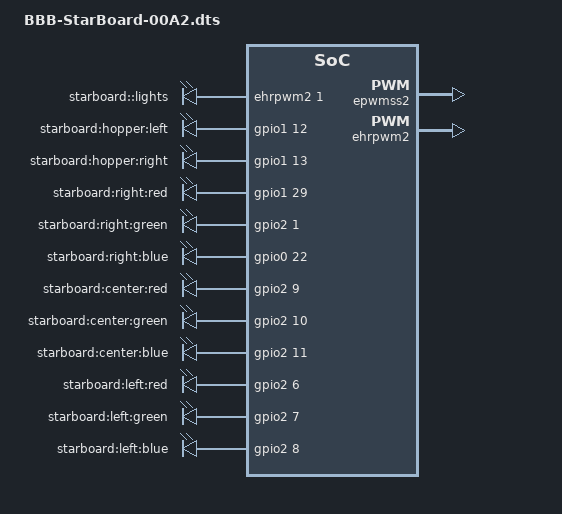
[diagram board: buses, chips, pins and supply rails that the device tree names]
/dts-v1/;
/plugin/;

#include <dt-bindings/gpio/gpio.h>
#include <dt-bindings/pinctrl/am33xx.h>

/ {
        compatible = "ti,beaglebone-black";

        /* identification */
        part-number = "BBB-StarBoard";
        version = "00A2";

        exclusive-use =
                "P8.11", /* pru0: pr1_pru0_pru_r30_15 */
                "P8.12", /* pru0: pr1_pru0_pru_r30_14 */
                "pru0",
                "P8.13", "ehrpwm2B", /* "gpio0_23", */
                "P8.14", "gpio0_26",
                "P8.15", "gpio1_15",
                "P8.16", "gpio1_14",
                "P8.17", "gpio0_27",
                "P8.18", "gpio2_1",
                "P8.19", "gpio0_22",
                "P8.26", "gpio1_29",
                "P8.41", "gpio2_10",
                "P8.42", "gpio2_11",
                "P8.43", "gpio2_8",
                "P8.44", "gpio2_9",
                "P8.45", "gpio2_6",
                "P8.46", "gpio2_7",
                "P9.25", "P9.28", "P9.29", "P9.31", "mcasp0", "ssm2518",
                "P9.27", "gpio3_19", "gpio1_27";


        fragment@0 {
                target = <&ocp>;
                __overlay__ {
                        P8_11_pinmux { status = "disabled"; }; /* pru0: pr1_pru0_pru_r30_15 */
                        P8_12_pinmux { status = "disabled"; }; /* pru0: pr1_pru0_pru_r30_14 */
                        P8_13_pinmux { status = "disabled"; }; /* ehrpwm2b */
                        P8_14_pinmux { status = "disabled"; }; /* gpio0_26 */
                        P8_15_pinmux { status = "disabled"; }; /* gpio1_15 */
                        P8_16_pinmux { status = "disabled"; }; /* gpio1_14 */
                        P8_17_pinmux { status = "disabled"; }; /* gpio0_27 */
                        P8_18_pinmux { status = "disabled"; }; /* gpio2_1 */
                        P8_19_pinmux { status = "disabled"; }; /* gpio0_22 */
                        P8_26_pinmux { status = "disabled"; }; /* gpio1_29 */
                        P8_41_pinmux { status = "disabled"; }; /* gpio2_10 */
                        P8_42_pinmux { status = "disabled"; }; /* gpio2_8 */
                        P8_43_pinmux { status = "disabled"; }; /* gpio2_9 */
                        P8_44_pinmux { status = "disabled"; }; /* gpio2_6 */
                        P8_45_pinmux { status = "disabled"; }; /* gpio2_7 */
                        P8_46_pinmux { status = "disabled"; }; /* gpio3_19, gpio1_27*/
                        P9_27_pinmux { status = "disabled"; };
                };
        };

        /* sets pin mux */
        fragment@1 {
                target = <&am33xx_pinmux>;
                __overlay__ {
                lights_pwm: pinmux_lights_pwm_pins {
                                pinctrl-single,pins = <
                                        0x024 0x4 /* P8.13 - house lights output pulldown */
                                        >;
                        };
                hopper_gpio: pinmux_hopper_gpio_pins {
                                pinctrl-single,pins = <
                                        0x34 0x27
                                        0x30 0x27
                                        >;
                        };
                led_gpio: pinmux_led_gpio_pins {
                                pinctrl-single,pins = <
                                        0x08c 0x07 /* P8.18 - right green */
                                        0x020 0x07 /* P8.19 - right blue */
                                        0x07c 0x07 /* P8.26 - right red */
                                        0x0b0 0x07 /* P8.41 - center green */
                                        0x0b4 0x07 /* P8.42 - center blue */
                                        0x0a8 0x07 /* P8.43 - left blue */
                                        0x0ac 0x07 /* P8.44 - center red */
                                        0x0a0 0x07 /* P8.45 - left red */
                                        0x0a4 0x07 /* P8.46 - left green */
                                        >;
                        };
                keys_gpio: pinmux_keys_gpio_pins {
                                pinctrl-single,pins = <
                                        0x028 0x37 /* P8.14 - right peck */
                                        0x03c 0x37 /* P8.15 - center peck */
                                        0x02c 0x37 /* P8.17 - left peck */
                                        >;
                        };
                hopdet_gpio: pinmux_hopdet_gpio_pins {
                                pinctrl-single,pins = <
                                        0x038 0x37 /* P8.16 - hopper up */
                                        >;
                        };
                };
        };

        /* enables pwm outputs */
        fragment@2 {
                target = <&epwmss2>;
                __overlay__ {
                        status = "okay";
                };
        };

        fragment@3 {
                target = <&ehrpwm2>;
                __overlay__ {
                        pinctrl-names = "default";
                        pinctrl-0 = <&lights_pwm>;
                        status = "okay";
                };
        };

        /* creates user interface */
        fragment@4 {
                target-path = "/";
                __overlay__ {
                        sbd-lights {
                                compatible = "pwm-leds";
                                status = "okay";
                                sbd-lights-pwm {
                                        label = "starboard::lights";
                                        /*channel, period (ns), polarity */
                                        pwms = <&ehrpwm2 1 500000 0>;
                                        /* pwm-names = "lights"; */
                                        max-brightness = <255>;
                                };
                        };
                        sbd-hopper-gpio {
                                compatible = "gpio-leds";
                                status = "okay";
                                sbd-hopper-left {
                                        label = "starboard:hopper:left";
                                        gpios = <&gpio1 12 GPIO_ACTIVE_HIGH>;
                                        default-state = "off";
                                };
                                sbd-hopper-right {
                                        label = "starboard:hopper:right";
                                        gpios = <&gpio1 13 GPIO_ACTIVE_HIGH>;
                                        default-state = "off";
                                };
                        };
                        sbd-cues {
                                compatible = "gpio-leds";
                                pinctrl-names = "default";
                                pinctrl-0 = <&led_gpio>;
                                sbd-cue-rrd {
                                        label = "starboard:right:red";
                                        gpios = <&gpio1 29 GPIO_ACTIVE_HIGH>; /* P8.26 */
                                        default-state = "off";
                                };
                                sbd-cue-rgn {
                                        label = "starboard:right:green";
                                        gpios = <&gpio2 1 GPIO_ACTIVE_HIGH>; /* P8.18 */
                                        default-state = "off";
                                };
                                sbd-cue-rbl {
                                        label = "starboard:right:blue";
                                        gpios = <&gpio0 22 GPIO_ACTIVE_HIGH>; /* P8.19 */
                                        default-state = "off";
                                };
                                sbd-cue-crd {
                                        label = "starboard:center:red";
                                        gpios = <&gpio2 9 GPIO_ACTIVE_HIGH>; /* P8.44 */
                                        default-state = "off";
                                };
                                sbd-cue-cgn {
                                        label = "starboard:center:green";
                                        gpios = <&gpio2 10 GPIO_ACTIVE_HIGH>; /* P8.41 */
                                        default-state = "off";
                                };
                                sbd-cue-cbl {
                                        label = "starboard:center:blue";
                                        gpios = <&gpio2 11 GPIO_ACTIVE_HIGH>; /* P8.42 */
                                        default-state = "off";
                                };
                                sbd-cue-lrd {
                                        label = "starboard:left:red";
                                        gpios = <&gpio2 6 GPIO_ACTIVE_HIGH>; /* P8.45 */
                                        default-state = "off";
                                };
                                sbd-cue-lgn {
                                        label = "starboard:left:green";
                                        gpios = <&gpio2 7 GPIO_ACTIVE_HIGH>; /* P8.46 */
                                        default-state = "off";
                                };
                                sbd-cue-lbl {
                                        label = "starboard:left:blue";
                                        gpios = <&gpio2 8 GPIO_ACTIVE_HIGH>; /* P8.43 */
                                        default-state = "off";
                                };
                        };
                };
        };
 };
